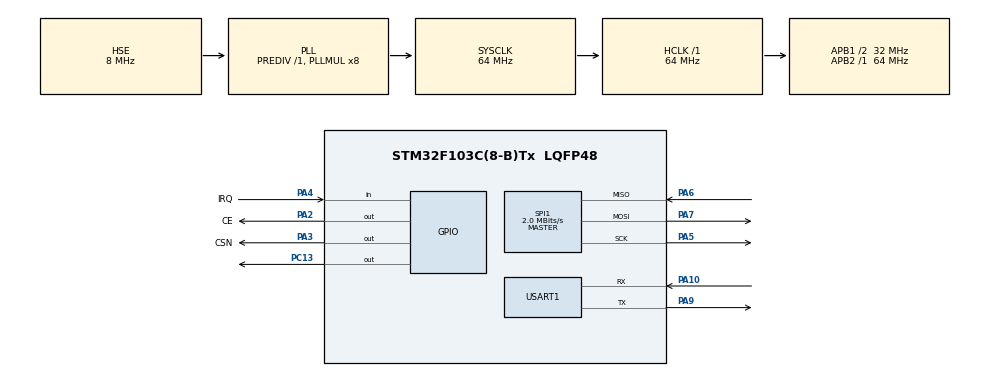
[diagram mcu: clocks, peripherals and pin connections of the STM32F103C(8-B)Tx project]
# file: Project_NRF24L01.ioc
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Mcu.Family=STM32F1
Mcu.Name=STM32F103C(8-B)Tx
Mcu.Package=LQFP48
NVIC.PriorityGroup=NVIC_PRIORITYGROUP_4
PA10.Mode=Asynchronous
PA10.Signal=USART1_RX
PA13.Mode=Serial_Wire
PA13.Signal=SYS_JTMS-SWDIO
PA14.Mode=Serial_Wire
PA14.Signal=SYS_JTCK-SWCLK
PA2.GPIO_Label=CE
PA2.GPIO_Speed=GPIO_SPEED_FREQ_HIGH
PA2.Signal=GPIO_Output
PA3.GPIO_Label=CSN
PA3.GPIO_Speed=GPIO_SPEED_FREQ_HIGH
PA3.Signal=GPIO_Output
PA4.GPIO_Label=IRQ
PA4.Signal=GPIO_Input
PA5.Mode=Full_Duplex_Master
PA5.Signal=SPI1_SCK
PA6.Mode=Full_Duplex_Master
PA6.Signal=SPI1_MISO
PA7.Mode=Full_Duplex_Master
PA7.Signal=SPI1_MOSI
PA9.Mode=Asynchronous
PA9.Signal=USART1_TX
PC13-TAMPER-RTC.Signal=GPIO_Output
PD0-OSC_IN.Mode=HSE-External-Oscillator
PD0-OSC_IN.Signal=RCC_OSC_IN
PD1-OSC_OUT.Mode=HSE-External-Oscillator
PD1-OSC_OUT.Signal=RCC_OSC_OUT
ProjectManager.HeapSize=0x200
ProjectManager.StackSize=0x400
ProjectManager.TargetToolchain=MDK-ARM V5
RCC.AHBFreq_Value=64000000
RCC.APB1CLKDivider=RCC_HCLK_DIV2
RCC.APB1Freq_Value=32000000
RCC.APB1TimFreq_Value=64000000
RCC.APB2Freq_Value=64000000
RCC.APB2TimFreq_Value=64000000
RCC.HCLKFreq_Value=64000000
RCC.PLLMUL=RCC_PLL_MUL8
RCC.PLLSourceVirtual=RCC_PLLSOURCE_HSE
RCC.SYSCLKFreq_VALUE=64000000
RCC.SYSCLKSource=RCC_SYSCLKSOURCE_PLLCLK
RCC.USBFreq_Value=64000000
SPI1.BaudRatePrescaler=SPI_BAUDRATEPRESCALER_32
SPI1.CalculateBaudRate=2.0 MBits/s
SPI1.Direction=SPI_DIRECTION_2LINES
SPI1.Mode=SPI_MODE_MASTER
SPI1.VirtualType=VM_MASTER
USART1.VirtualMode=VM_ASYNC
board=custom

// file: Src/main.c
/**
  ******************************************************************************
  * @file           : main.c
  * @brief          : Main program body
  ******************************************************************************
  ** This notice applies to any and all portions of this file
  * that are not between comment pairs USER CODE BEGIN and
  * USER CODE END. Other portions of this file, whether
  * inserted by the user or by software development tools
  * are owned by their respective copyright owners.
  *
  * COPYRIGHT(c) 2018 STMicroelectronics
  *
  * Redistribution and use in source and binary forms, with or without modification,
  * are permitted provided that the following conditions are met:
  *   1. Redistributions of source code must retain the above copyright notice,
  *      this list of conditions and the following disclaimer.
  *   2. Redistributions in binary form must reproduce the above copyright notice,
  *      this list of conditions and the following disclaimer in the documentation
  *      and/or other materials provided with the distribution.
  *   3. Neither the name of STMicroelectronics nor the names of its contributors
  *      may be used to endorse or promote products derived from this software
  *      without specific prior written permission.
  *
  * THIS SOFTWARE IS PROVIDED BY THE COPYRIGHT HOLDERS AND CONTRIBUTORS "AS IS"
  * AND ANY EXPRESS OR IMPLIED WARRANTIES, INCLUDING, BUT NOT LIMITED TO, THE
  * IMPLIED WARRANTIES OF MERCHANTABILITY AND FITNESS FOR A PARTICULAR PURPOSE ARE
  * DISCLAIMED. IN NO EVENT SHALL THE COPYRIGHT HOLDER OR CONTRIBUTORS BE LIABLE
  * FOR ANY DIRECT, INDIRECT, INCIDENTAL, SPECIAL, EXEMPLARY, OR CONSEQUENTIAL
  * DAMAGES (INCLUDING, BUT NOT LIMITED TO, PROCUREMENT OF SUBSTITUTE GOODS OR
  * SERVICES; LOSS OF USE, DATA, OR PROFITS; OR BUSINESS INTERRUPTION) HOWEVER
  * CAUSED AND ON ANY THEORY OF LIABILITY, WHETHER IN CONTRACT, STRICT LIABILITY,
  * OR TORT (INCLUDING NEGLIGENCE OR OTHERWISE) ARISING IN ANY WAY OUT OF THE USE
  * OF THIS SOFTWARE, EVEN IF ADVISED OF THE POSSIBILITY OF SUCH DAMAGE.
  *
  ******************************************************************************
  */
#include "main.h"
#include "stm32f1xx_hal.h"

SPI_HandleTypeDef hspi1;

UART_HandleTypeDef huart1;
static const uint8_t rx_address[5]={1, 2, 3, 4, 5};
static const uint8_t tx_address[5]={1,2,3,4,6};
uint32_t rx_data;
nrf24l01 nrf;
/* USER CODE BEGIN PV */
/* Private variables ---------------------------------------------------------*/

/* USER CODE END PV */

void SystemClock_Config(void);
static void MX_GPIO_Init(void);
static void MX_USART1_UART_Init(void);
static void MX_SPI1_Init(void);

/* USER CODE BEGIN PFP */
/* Private function prototypes -----------------------------------------------*/

/* USER CODE END PFP */

/* USER CODE BEGIN 0 */
void Config_NrF(void)
{

				nrf24l01_config config;
        config.data_rate        = NRF_DATA_RATE_1MBPS;
        config.tx_power         = NRF_TX_PWR_0dBm;
        config.crc_width        = NRF_CRC_WIDTH_1B;
        config.addr_width       = NRF_ADDR_WIDTH_5;
        config.payload_length   = 4;    // maximum is 32 bytes
        config.retransmit_count = 15;   // maximum is 15 times
        config.retransmit_delay = 0x0F; // 4000us, LSB:250us
        config.rf_channel       = 0;
        config.rx_address       = rx_address;
        config.tx_address       = tx_address;
        config.rx_buffer        = (uint8_t*)&rx_data;

        config.spi         = &hspi1;
        config.spi_timeout = 10; // milliseconds
        config.ce_port     = CE_GPIO_Port;
        config.ce_pin      = CE_Pin;
        config.irq_port    = IRQ_GPIO_Port;
        config.irq_pin     = IRQ_Pin;
				config.csn_pin=CSN_Pin;
				config.csn_port=CSN_GPIO_Port;
        nrf_init(&nrf, &config);

}
/* USER CODE END 0 */

int main(void)
{

  /* MCU Configuration----------------------------------------------------------*/

  /* Reset of all peripherals, Initializes the Flash interface and the Systick. */
  HAL_Init();

  /* Configure the system clock */
  SystemClock_Config();

  /* Initialize all configured peripherals */
  MX_GPIO_Init();
  MX_USART1_UART_Init();
  MX_SPI1_Init();
  /* USER CODE BEGIN 2 */
	uint32_t i;
	Config_NrF();
  /* USER CODE END 2 */

  /* Infinite loop */
  while (1)
  {
	for(i=0;i<65535;i++)
	{
		nrf_send_packet(&nrf, (uint8_t*)i);
		HAL_Delay(500);
	}
  }

}

void SystemClock_Config(void)
{

  RCC_OscInitTypeDef RCC_OscInitStruct;
  RCC_ClkInitTypeDef RCC_ClkInitStruct;

    /**Initializes the CPU, AHB and APB busses clocks
    */
  RCC_OscInitStruct.OscillatorType = RCC_OSCILLATORTYPE_HSE;
  RCC_OscInitStruct.HSEState = RCC_HSE_ON;
  RCC_OscInitStruct.HSEPredivValue = RCC_HSE_PREDIV_DIV1;
  RCC_OscInitStruct.HSIState = RCC_HSI_ON;
  RCC_OscInitStruct.PLL.PLLState = RCC_PLL_ON;
  RCC_OscInitStruct.PLL.PLLSource = RCC_PLLSOURCE_HSE;
  RCC_OscInitStruct.PLL.PLLMUL = RCC_PLL_MUL8;
  if (HAL_RCC_OscConfig(&RCC_OscInitStruct) != HAL_OK)
  {
    _Error_Handler(__FILE__, __LINE__);
  }

    /**Initializes the CPU, AHB and APB busses clocks
    */
  RCC_ClkInitStruct.ClockType = RCC_CLOCKTYPE_HCLK|RCC_CLOCKTYPE_SYSCLK
                              |RCC_CLOCKTYPE_PCLK1|RCC_CLOCKTYPE_PCLK2;
  RCC_ClkInitStruct.SYSCLKSource = RCC_SYSCLKSOURCE_PLLCLK;
  RCC_ClkInitStruct.AHBCLKDivider = RCC_SYSCLK_DIV1;
  RCC_ClkInitStruct.APB1CLKDivider = RCC_HCLK_DIV2;
  RCC_ClkInitStruct.APB2CLKDivider = RCC_HCLK_DIV1;

  if (HAL_RCC_ClockConfig(&RCC_ClkInitStruct, FLASH_LATENCY_2) != HAL_OK)
  {
    _Error_Handler(__FILE__, __LINE__);
  }

    /**Configure the Systick interrupt time
    */
  HAL_SYSTICK_Config(HAL_RCC_GetHCLKFreq()/1000);

    /**Configure the Systick
    */
  HAL_SYSTICK_CLKSourceConfig(SYSTICK_CLKSOURCE_HCLK);

  /* SysTick_IRQn interrupt configuration */
  HAL_NVIC_SetPriority(SysTick_IRQn, 0, 0);
}

/* SPI1 init function */
static void MX_SPI1_Init(void)
{

  /* SPI1 parameter configuration*/
  hspi1.Instance = SPI1;
  hspi1.Init.Mode = SPI_MODE_MASTER;
  hspi1.Init.Direction = SPI_DIRECTION_2LINES;
  hspi1.Init.DataSize = SPI_DATASIZE_8BIT;
  hspi1.Init.CLKPolarity = SPI_POLARITY_LOW;
  hspi1.Init.CLKPhase = SPI_PHASE_1EDGE;
  hspi1.Init.NSS = SPI_NSS_SOFT;
  hspi1.Init.BaudRatePrescaler = SPI_BAUDRATEPRESCALER_32;
  hspi1.Init.FirstBit = SPI_FIRSTBIT_MSB;
  hspi1.Init.TIMode = SPI_TIMODE_DISABLE;
  hspi1.Init.CRCCalculation = SPI_CRCCALCULATION_DISABLE;
  hspi1.Init.CRCPolynomial = 10;
  if (HAL_SPI_Init(&hspi1) != HAL_OK)
  {
    _Error_Handler(__FILE__, __LINE__);
  }

}

/* USART1 init function */
static void MX_USART1_UART_Init(void)
{

  huart1.Instance = USART1;
  huart1.Init.BaudRate = 115200;
  huart1.Init.WordLength = UART_WORDLENGTH_8B;
  huart1.Init.StopBits = UART_STOPBITS_1;
  huart1.Init.Parity = UART_PARITY_NONE;
  huart1.Init.Mode = UART_MODE_TX_RX;
  huart1.Init.HwFlowCtl = UART_HWCONTROL_NONE;
  huart1.Init.OverSampling = UART_OVERSAMPLING_16;
  if (HAL_UART_Init(&huart1) != HAL_OK)
  {
    _Error_Handler(__FILE__, __LINE__);
  }

}

/** Configure pins as
        * Analog
        * Input
        * Output
        * EVENT_OUT
        * EXTI
*/
static void MX_GPIO_Init(void)
{

  GPIO_InitTypeDef GPIO_InitStruct;

  /* GPIO Ports Clock Enable */
  __HAL_RCC_GPIOC_CLK_ENABLE();
  __HAL_RCC_GPIOD_CLK_ENABLE();
  __HAL_RCC_GPIOA_CLK_ENABLE();

  /*Configure GPIO pin Output Level */
  HAL_GPIO_WritePin(GPIOC, GPIO_PIN_13, GPIO_PIN_RESET);

  /*Configure GPIO pin Output Level */
  HAL_GPIO_WritePin(GPIOA, CE_Pin|CSN_Pin, GPIO_PIN_RESET);

  /*Configure GPIO pin : PC13 */
  GPIO_InitStruct.Pin = GPIO_PIN_13;
  GPIO_InitStruct.Mode = GPIO_MODE_OUTPUT_PP;
  GPIO_InitStruct.Pull = GPIO_NOPULL;
  GPIO_InitStruct.Speed = GPIO_SPEED_FREQ_LOW;
  HAL_GPIO_Init(GPIOC, &GPIO_InitStruct);

  /*Configure GPIO pins : CE_Pin CSN_Pin */
  GPIO_InitStruct.Pin = CE_Pin|CSN_Pin;
  GPIO_InitStruct.Mode = GPIO_MODE_OUTPUT_PP;
  GPIO_InitStruct.Pull = GPIO_NOPULL;
  GPIO_InitStruct.Speed = GPIO_SPEED_FREQ_HIGH;
  HAL_GPIO_Init(GPIOA, &GPIO_InitStruct);

  /*Configure GPIO pin : IRQ_Pin */
  GPIO_InitStruct.Pin = IRQ_Pin;
  GPIO_InitStruct.Mode = GPIO_MODE_INPUT;
  GPIO_InitStruct.Pull = GPIO_NOPULL;
  HAL_GPIO_Init(IRQ_GPIO_Port, &GPIO_InitStruct);

}

void _Error_Handler(char *file, int line)
{
  while(1)
  {
  }
}

/************************ (C) COPYRIGHT STMicroelectronics *****END OF FILE****/
